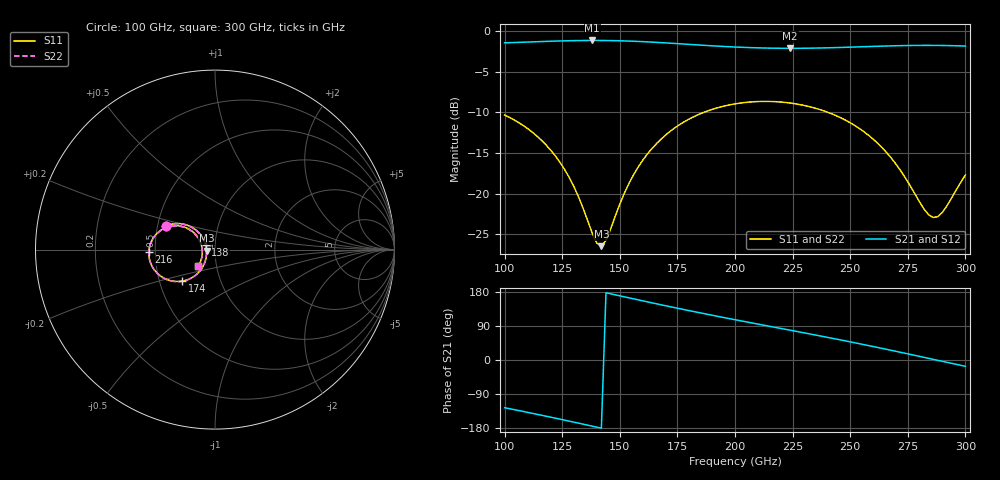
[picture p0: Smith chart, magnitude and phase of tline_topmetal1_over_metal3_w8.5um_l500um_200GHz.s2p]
#  GHZ S DB R 50
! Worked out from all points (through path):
!   101 points, 100 GHz to 300 GHz, reference 50 ohm
!   highest |S21| = -1.13 dB at 138 GHz (marker M1); lowest = -2.1 dB at 224 GHz (marker M2)
!   group delay of S21, straight-line fit = 3.44 ps
!   lowest |S11| = -26.5 dB at 142 GHz (marker M3), VSWR 1.10, Z = 45.5 - j0.543 ohm
!   |S11| at or under -10 dB: start of sweep to 186.4 GHz; 240.4 GHz to end of sweep
!   |S22| runs from -26.3 to -8.6 dB; largest |S21 - S12| = 9.9e-14
!   S11 on the Smith chart (normalised r, x): 100 GHz: 0.55, +0.16; 138 GHz: 0.90, +0.04; 174 GHz: 0.65, -0.25; 216 GHz: 0.46, -0.02; 300 GHz: 0.82, -0.15
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100  -10.32 154.5  -1.42 -126.0  -1.42 -126.0  -10.32 154.8
110  -12.00 144.7  -1.33 -138.2  -1.33 -138.2  -12.00 145.0
120  -14.65 136.5  -1.23 -150.9  -1.23 -150.9  -14.65 136.9
128  -17.99 133.8  -1.17 -161.3  -1.17 -161.3  -17.99 134.4
134  -21.76 139.5  -1.14 -169.2  -1.14 -169.2  -21.72 140.4
138  -24.85 154.9  -1.13 -174.6  -1.13 -174.6  -24.76 155.8
142  -26.48 -172.8  -1.14 -179.9  -1.14 -179.9  -26.31 -172.3
144  -25.77 -155.6  -1.14 177.4  -1.14 177.4  -25.62 -155.4
156  -17.67 -125.0  -1.23 161.3  -1.23 161.3  -17.63 -125.0
168  -13.26 -131.1  -1.40 145.6  -1.40 145.6  -13.24 -131.0
174  -11.88 -136.4  -1.51 137.9  -1.51 137.9  -11.86 -136.2
186  -10.04 -148.0  -1.72 123.0  -1.72 123.0  -10.03 -147.8
200  -8.95 -161.9  -1.94 106.3  -1.94 106.3  -8.94 -161.6
216  -8.66 -177.6  -2.08 87.8  -2.08 87.8  -8.65 -177.3
224  -8.85 174.7  -2.10 78.6  -2.10 78.6  -8.84 175.0
234  -9.41 165.2  -2.08 67.0  -2.08 67.0  -9.41 165.6
252  -11.62 149.5  -1.94 45.4  -1.94 45.4  -11.61 150.0
268  -15.69 141.2  -1.80 25.3  -1.80 25.3  -15.68 141.8
282  -21.89 161.1  -1.74 7.0  -1.74 7.0  -21.87 161.7
286  -22.95 -179.5  -1.74 1.8  -1.74 1.8  -22.92 -178.9
290  -22.32 -158.7  -1.75 -3.5  -1.75 -3.5  -22.29 -158.2
300  -17.70 -135.5  -1.82 -16.7  -1.82 -16.7  -17.69 -134.9
